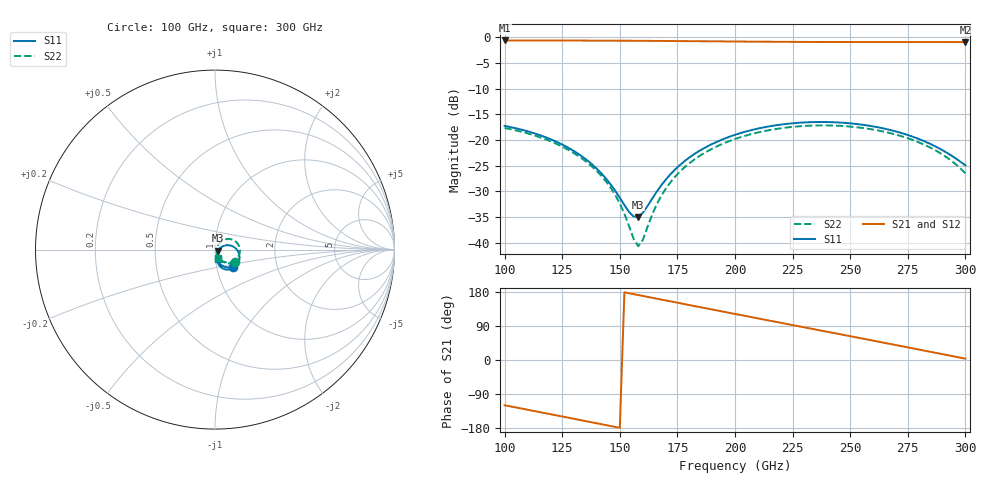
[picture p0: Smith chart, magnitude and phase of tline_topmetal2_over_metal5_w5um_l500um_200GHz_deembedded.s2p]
! Created with skrf 2.0.1 (http://scikit-rf.org).
# GHz S DB R 50.0
!freq dBS11 angS11 dBS21 angS21 dBS12 angS12 dBS22 angS22
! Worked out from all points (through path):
!   101 points, 100 GHz to 300 GHz, reference 50 ohm
!   highest |S21| = -0.60 dB at 100 GHz (marker M1); lowest = -0.9 dB at 300 GHz (marker M2)
!   group delay of S21, straight-line fit = 3.29 ps
!   lowest |S11| = -35.0 dB at 158 GHz (marker M3), VSWR 1.04, Z = 51.7 - j0.64 ohm
!   |S11| at or under -10 dB: start of sweep to end of sweep
!   |S22| runs from -40.7 to -17.1 dB; largest |S21 - S12| = 1.6e-13
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100  -17.25 -44.0  -0.60 -119.4  -0.60 -119.4  -17.66 -31.6
118  -19.49 -62.4  -0.61 -140.8  -0.61 -140.8  -19.90 -48.6
134  -23.32 -75.4  -0.63 -159.9  -0.63 -159.9  -23.73 -62.1
140  -25.57 -77.8  -0.64 -167.0  -0.64 -167.0  -26.03 -65.9
146  -28.62 -75.9  -0.65 -174.2  -0.65 -174.2  -29.27 -67.2
150  -31.23 -68.9  -0.65 -179.0  -0.65 -179.0  -32.36 -64.4
154  -34.00 -51.3  -0.66 176.2  -0.66 176.2  -36.72 -51.8
156  -34.89 -36.8  -0.67 173.8  -0.67 173.8  -39.24 -35.3
158  -34.96 -20.2  -0.67 171.5  -0.67 171.5  -40.66 -7.0
160  -34.16 -5.3  -0.68 169.1  -0.68 169.1  -39.45 22.0
164  -31.45 13.3  -0.69 164.3  -0.69 164.3  -34.57 48.5
168  -28.81 20.9  -0.70 159.5  -0.70 159.5  -30.87 55.1
174  -25.73 23.2  -0.72 152.4  -0.72 152.4  -27.14 55.5
180  -23.46 21.1  -0.74 145.2  -0.74 145.2  -24.59 52.3
190  -20.78 13.8  -0.77 133.4  -0.77 133.4  -21.70 44.3
200  -18.98 4.7  -0.81 121.6  -0.81 121.6  -19.80 35.0
218  -17.11 -13.3  -0.86 100.4  -0.86 100.4  -17.83 17.0
234  -16.50 -29.6  -0.90 81.6  -0.90 81.6  -17.17 0.5
250  -16.75 -45.7  -0.91 62.8  -0.91 62.8  -17.38 -16.4
268  -18.11 -62.5  -0.91 41.6  -0.91 41.6  -18.72 -35.6
286  -21.02 -75.2  -0.91 20.2  -0.91 20.2  -21.76 -54.9
300  -24.93 -75.4  -0.92 3.5  -0.92 3.5  -26.49 -69.6
